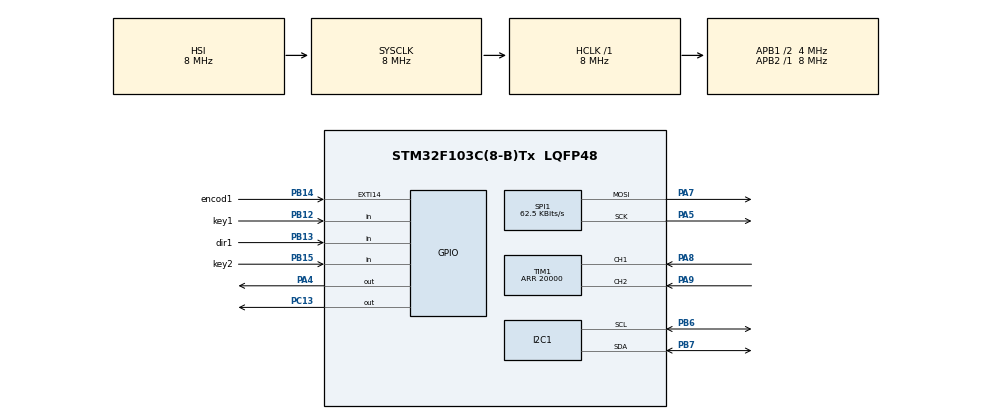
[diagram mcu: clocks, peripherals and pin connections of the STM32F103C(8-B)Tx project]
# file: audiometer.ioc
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Mcu.Family=STM32F1
Mcu.Name=STM32F103C(8-B)Tx
Mcu.Package=LQFP48
NVIC.EXTI15_10_IRQn=true\:0\:0\:false\:false\:true\:true\:true
NVIC.PriorityGroup=NVIC_PRIORITYGROUP_4
NVIC.TIM2_IRQn=true\:0\:0\:false\:false\:true\:true\:true
PA13.Mode=Serial_Wire
PA13.Signal=SYS_JTMS-SWDIO
PA14.Mode=Serial_Wire
PA14.Signal=SYS_JTCK-SWCLK
PA4.GPIO_PuPd=GPIO_PULLUP
PA4.Signal=GPIO_Output
PA5.Mode=TX_Only_Simplex_Unidirect_Master
PA5.Signal=SPI1_SCK
PA7.Mode=TX_Only_Simplex_Unidirect_Master
PA7.Signal=SPI1_MOSI
PA8.GPIO_PuPd=GPIO_PULLUP
PA8.Signal=S_TIM1_CH1
PA9.GPIO_PuPd=GPIO_PULLUP
PA9.Signal=S_TIM1_CH2
PB12.GPIO_Label=key1
PB12.GPIO_PuPd=GPIO_PULLUP
PB12.Signal=GPIO_Input
PB13.GPIO_Label=dir1
PB13.GPIO_PuPd=GPIO_PULLUP
PB13.Signal=GPIO_Input
PB14.GPIO_Label=encod1
PB14.GPIO_ModeDefaultEXTI=GPIO_MODE_IT_RISING_FALLING
PB14.GPIO_PuPd=GPIO_PULLUP
PB14.Signal=GPXTI14
PB15.GPIO_Label=key2
PB15.GPIO_PuPd=GPIO_PULLUP
PB15.Signal=GPIO_Input
PB6.Mode=I2C
PB6.Signal=I2C1_SCL
PB7.Mode=I2C
PB7.Signal=I2C1_SDA
PC13-TAMPER-RTC.GPIO_PuPd=GPIO_PULLUP
PC13-TAMPER-RTC.Signal=GPIO_Output
ProjectManager.HeapSize=0x200
ProjectManager.StackSize=0x400
ProjectManager.TargetToolchain=STM32CubeIDE
RCC.AHBFreq_Value=8000000
RCC.APB1CLKDivider=RCC_HCLK_DIV2
RCC.APB1Freq_Value=4000000
RCC.APB1TimFreq_Value=8000000
RCC.APB2Freq_Value=8000000
RCC.APB2TimFreq_Value=8000000
RCC.HCLKFreq_Value=8000000
RCC.PLLMUL=RCC_PLL_MUL3
RCC.SYSCLKFreq_VALUE=8000000
RCC.USBFreq_Value=12000000
SH.S_TIM1_CH1.0=TIM1_CH1,Encoder_Interface
SH.S_TIM1_CH2.0=TIM1_CH2,Encoder_Interface
SPI1.BaudRatePrescaler=SPI_BAUDRATEPRESCALER_128
SPI1.CLKPolarity=SPI_POLARITY_HIGH
SPI1.CalculateBaudRate=62.5 KBits/s
SPI1.DataSize=SPI_DATASIZE_16BIT
SPI1.Direction=SPI_DIRECTION_2LINES
SPI1.Mode=SPI_MODE_MASTER
SPI1.VirtualType=VM_MASTER
TIM1.AutoReloadPreload=TIM_AUTORELOAD_PRELOAD_DISABLE
TIM1.EncoderMode=TIM_ENCODERMODE_TI12
TIM1.IC1Filter=15
TIM1.Period=20000
TIM2.Period=65535
TIM2.Prescaler=0
VP_TIM2_VS_ClockSourceINT.Mode=Internal
board=custom

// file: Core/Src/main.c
/* USER CODE BEGIN Header */
/**
  ******************************************************************************
  * @file           : main.c
  * @brief          : Main program body
  ******************************************************************************
  * @attention
  *
  * <h2><center>&copy; Copyright (c) 2020 STMicroelectronics.
  * All rights reserved.</center></h2>
  *
  * This software component is licensed by ST under BSD 3-Clause license,
  * the "License"; You may not use this file except in compliance with the
  * License. You may obtain a copy of the License at:
  *                        opensource.org/licenses/BSD-3-Clause
  *
  ******************************************************************************
  */
/* USER CODE END Header */

#include "main.h"

/* USER CODE BEGIN Includes */

 I2C_HandleTypeDef hi2c1;
 SPI_HandleTypeDef hspi1;

#include "ssd1306_my.h"
#include "stm32f1xx_hal_i2c.h"
#include "ad9833.h"
/* USER CODE END Includes */

I2C_HandleTypeDef hi2c1;

SPI_HandleTypeDef hspi1;

TIM_HandleTypeDef htim1;
TIM_HandleTypeDef htim2;

/* USER CODE BEGIN PV */

int32_t pulse =100;
int32_t db=100;
char state2=0;
char state=0;

/* USER CODE END PV */

void SystemClock_Config(void);
static void MX_GPIO_Init(void);
static void MX_I2C1_Init(void);
static void MX_SPI1_Init(void);
static void MX_TIM1_Init(void);
static void MX_TIM2_Init(void);
/* USER CODE BEGIN PFP */

uint32_t counter = 0 ;

/* USER CODE END PFP */

int main(void)
{

  /* MCU Configuration--------------------------------------------------------*/

  /* Reset of all peripherals, Initializes the Flash interface and the Systick. */
  HAL_Init();

  /* Configure the system clock */
  SystemClock_Config();

  /* Initialize all configured peripherals */
  MX_GPIO_Init();
  MX_I2C1_Init();
  MX_SPI1_Init();
  MX_TIM1_Init();
  MX_TIM2_Init();
  /* USER CODE BEGIN 2 */
//asd
  /* USER CODE END 2 */

  /* Infinite loop */
  /* USER CODE BEGIN WHILE */

  ssd1306_Init();

  ssd1306_Fill(Black);
  ssd1306_WriteString("salam chetori", Font_7x10, White);
  ssd1306_UpdateScreen();

  HAL_TIM_Base_Start_IT(&htim2);

  HAL_TIM_Encoder_Start(&htim1, TIM_CHANNEL_ALL);

  while (1)
  {
    /* USER CODE END WHILE */

    /* USER CODE BEGIN 3 */

	  db = TIM1->CNT;
	  db*=100;
	  ssd1306_SetCursor(0, 14);
	  ssd1306_WriteString("freq = ", Font_7x10, White);
	  ssd1306_PutInt(pulse ,Font_7x10, White);
	  ssd1306_WriteString("        ", Font_7x10, White);
	  ssd1306_SetCursor(0, 23);
	  ssd1306_WriteString("db   = ", Font_7x10, White);
	  ssd1306_PutInt(db ,Font_7x10, White);
	  ssd1306_WriteString("        ", Font_7x10, White);
	  ssd1306_SetCursor(0,  30);
	  ssd1306_WriteString("c   = ", Font_7x10, White);
	  ssd1306_PutInt(state2,Font_7x10, White);
	  ssd1306_WriteString("        ", Font_7x10, White);

	  ssd1306_UpdateScreen();
	  ad9833_set_mode_and_freq(ad9833_sin, db );
	 // ad9833_disable();
	  //ssd1306_ClearScreen();

//	  if(db!=HAL_GPIO_ReadPin(encod1_GPIO_Port,encod1_Pin))
//	 {
//		  if(HAL_GPIO_ReadPin(dir1_GPIO_Port,dir1_Pin))
//		  {
//			  pulse++;
//		  }
//		  else
//		  {
//			  pulse--;
//		  }
//	 }
  }
  /* USER CODE END 3 */
}

void SystemClock_Config(void)
{
  RCC_OscInitTypeDef RCC_OscInitStruct = {0};
  RCC_ClkInitTypeDef RCC_ClkInitStruct = {0};

  /** Initializes the CPU, AHB and APB busses clocks
  */
  RCC_OscInitStruct.OscillatorType = RCC_OSCILLATORTYPE_HSI;
  RCC_OscInitStruct.HSIState = RCC_HSI_ON;
  RCC_OscInitStruct.HSICalibrationValue = RCC_HSICALIBRATION_DEFAULT;
  RCC_OscInitStruct.PLL.PLLState = RCC_PLL_NONE;
  if (HAL_RCC_OscConfig(&RCC_OscInitStruct) != HAL_OK)
  {
    Error_Handler();
  }
  /** Initializes the CPU, AHB and APB busses clocks
  */
  RCC_ClkInitStruct.ClockType = RCC_CLOCKTYPE_HCLK|RCC_CLOCKTYPE_SYSCLK
                              |RCC_CLOCKTYPE_PCLK1|RCC_CLOCKTYPE_PCLK2;
  RCC_ClkInitStruct.SYSCLKSource = RCC_SYSCLKSOURCE_HSI;
  RCC_ClkInitStruct.AHBCLKDivider = RCC_SYSCLK_DIV1;
  RCC_ClkInitStruct.APB1CLKDivider = RCC_HCLK_DIV2;
  RCC_ClkInitStruct.APB2CLKDivider = RCC_HCLK_DIV1;

  if (HAL_RCC_ClockConfig(&RCC_ClkInitStruct, FLASH_LATENCY_0) != HAL_OK)
  {
    Error_Handler();
  }
}

static void MX_I2C1_Init(void)
{

  hi2c1.Instance = I2C1;
  hi2c1.Init.ClockSpeed = 100000;
  hi2c1.Init.DutyCycle = I2C_DUTYCYCLE_2;
  hi2c1.Init.OwnAddress1 = 0;
  hi2c1.Init.AddressingMode = I2C_ADDRESSINGMODE_7BIT;
  hi2c1.Init.DualAddressMode = I2C_DUALADDRESS_DISABLE;
  hi2c1.Init.OwnAddress2 = 0;
  hi2c1.Init.GeneralCallMode = I2C_GENERALCALL_DISABLE;
  hi2c1.Init.NoStretchMode = I2C_NOSTRETCH_DISABLE;
  if (HAL_I2C_Init(&hi2c1) != HAL_OK)
  {
    Error_Handler();
  }

}

static void MX_SPI1_Init(void)
{

  /* SPI1 parameter configuration*/
  hspi1.Instance = SPI1;
  hspi1.Init.Mode = SPI_MODE_MASTER;
  hspi1.Init.Direction = SPI_DIRECTION_2LINES;
  hspi1.Init.DataSize = SPI_DATASIZE_16BIT;
  hspi1.Init.CLKPolarity = SPI_POLARITY_HIGH;
  hspi1.Init.CLKPhase = SPI_PHASE_1EDGE;
  hspi1.Init.NSS = SPI_NSS_SOFT;
  hspi1.Init.BaudRatePrescaler = SPI_BAUDRATEPRESCALER_128;
  hspi1.Init.FirstBit = SPI_FIRSTBIT_MSB;
  hspi1.Init.TIMode = SPI_TIMODE_DISABLE;
  hspi1.Init.CRCCalculation = SPI_CRCCALCULATION_DISABLE;
  hspi1.Init.CRCPolynomial = 10;
  if (HAL_SPI_Init(&hspi1) != HAL_OK)
  {
    Error_Handler();
  }

}

static void MX_TIM1_Init(void)
{

  TIM_Encoder_InitTypeDef sConfig = {0};
  TIM_MasterConfigTypeDef sMasterConfig = {0};

  htim1.Instance = TIM1;
  htim1.Init.Prescaler = 0;
  htim1.Init.CounterMode = TIM_COUNTERMODE_UP;
  htim1.Init.Period = 20000;
  htim1.Init.ClockDivision = TIM_CLOCKDIVISION_DIV1;
  htim1.Init.RepetitionCounter = 0;
  htim1.Init.AutoReloadPreload = TIM_AUTORELOAD_PRELOAD_DISABLE;
  sConfig.EncoderMode = TIM_ENCODERMODE_TI12;
  sConfig.IC1Polarity = TIM_ICPOLARITY_RISING;
  sConfig.IC1Selection = TIM_ICSELECTION_DIRECTTI;
  sConfig.IC1Prescaler = TIM_ICPSC_DIV1;
  sConfig.IC1Filter = 15;
  sConfig.IC2Polarity = TIM_ICPOLARITY_RISING;
  sConfig.IC2Selection = TIM_ICSELECTION_DIRECTTI;
  sConfig.IC2Prescaler = TIM_ICPSC_DIV1;
  sConfig.IC2Filter = 0;
  if (HAL_TIM_Encoder_Init(&htim1, &sConfig) != HAL_OK)
  {
    Error_Handler();
  }
  sMasterConfig.MasterOutputTrigger = TIM_TRGO_RESET;
  sMasterConfig.MasterSlaveMode = TIM_MASTERSLAVEMODE_DISABLE;
  if (HAL_TIMEx_MasterConfigSynchronization(&htim1, &sMasterConfig) != HAL_OK)
  {
    Error_Handler();
  }

}

static void MX_TIM2_Init(void)
{

  TIM_ClockConfigTypeDef sClockSourceConfig = {0};
  TIM_MasterConfigTypeDef sMasterConfig = {0};

  htim2.Instance = TIM2;
  htim2.Init.Prescaler = 0;
  htim2.Init.CounterMode = TIM_COUNTERMODE_UP;
  htim2.Init.Period = 65535;
  htim2.Init.ClockDivision = TIM_CLOCKDIVISION_DIV1;
  htim2.Init.AutoReloadPreload = TIM_AUTORELOAD_PRELOAD_DISABLE;
  if (HAL_TIM_Base_Init(&htim2) != HAL_OK)
  {
    Error_Handler();
  }
  sClockSourceConfig.ClockSource = TIM_CLOCKSOURCE_INTERNAL;
  if (HAL_TIM_ConfigClockSource(&htim2, &sClockSourceConfig) != HAL_OK)
  {
    Error_Handler();
  }
  sMasterConfig.MasterOutputTrigger = TIM_TRGO_RESET;
  sMasterConfig.MasterSlaveMode = TIM_MASTERSLAVEMODE_DISABLE;
  if (HAL_TIMEx_MasterConfigSynchronization(&htim2, &sMasterConfig) != HAL_OK)
  {
    Error_Handler();
  }

}

static void MX_GPIO_Init(void)
{
  GPIO_InitTypeDef GPIO_InitStruct = {0};

  /* GPIO Ports Clock Enable */
  __HAL_RCC_GPIOC_CLK_ENABLE();
  __HAL_RCC_GPIOA_CLK_ENABLE();
  __HAL_RCC_GPIOB_CLK_ENABLE();

  /*Configure GPIO pin Output Level */
  HAL_GPIO_WritePin(GPIOC, GPIO_PIN_13, GPIO_PIN_RESET);

  /*Configure GPIO pin Output Level */
  HAL_GPIO_WritePin(GPIOA, GPIO_PIN_4, GPIO_PIN_RESET);

  /*Configure GPIO pin : PC13 */
  GPIO_InitStruct.Pin = GPIO_PIN_13;
  GPIO_InitStruct.Mode = GPIO_MODE_OUTPUT_PP;
  GPIO_InitStruct.Pull = GPIO_PULLUP;
  GPIO_InitStruct.Speed = GPIO_SPEED_FREQ_LOW;
  HAL_GPIO_Init(GPIOC, &GPIO_InitStruct);

  /*Configure GPIO pin : PA4 */
  GPIO_InitStruct.Pin = GPIO_PIN_4;
  GPIO_InitStruct.Mode = GPIO_MODE_OUTPUT_PP;
  GPIO_InitStruct.Pull = GPIO_PULLUP;
  GPIO_InitStruct.Speed = GPIO_SPEED_FREQ_LOW;
  HAL_GPIO_Init(GPIOA, &GPIO_InitStruct);

  /*Configure GPIO pins : key1_Pin dir1_Pin key2_Pin */
  GPIO_InitStruct.Pin = key1_Pin|dir1_Pin|key2_Pin;
  GPIO_InitStruct.Mode = GPIO_MODE_INPUT;
  GPIO_InitStruct.Pull = GPIO_PULLUP;
  HAL_GPIO_Init(GPIOB, &GPIO_InitStruct);

  /*Configure GPIO pin : encod1_Pin */
  GPIO_InitStruct.Pin = encod1_Pin;
  GPIO_InitStruct.Mode = GPIO_MODE_IT_RISING_FALLING;
  GPIO_InitStruct.Pull = GPIO_PULLUP;
  HAL_GPIO_Init(encod1_GPIO_Port, &GPIO_InitStruct);

  /* EXTI interrupt init*/
  HAL_NVIC_SetPriority(EXTI15_10_IRQn, 0, 0);
  HAL_NVIC_EnableIRQ(EXTI15_10_IRQn);

}

/* USER CODE BEGIN 4 */

 void HAL_TIM_PeriodElapsedCallback(TIM_HandleTypeDef *htim)
 {

//	 HAL_GPIO_TogglePin(GPIOC, GPIO_PIN_13);
	 state2 ++ ;
	 if(state2>250)
		 state2=250;
 }

 void HAL_GPIO_EXTI_Callback(uint16_t GPIO_Pin)
{

	 char valid = 0;
	 __HAL_TIM_DISABLE(&htim2);

	 counter =	__HAL_TIM_GET_COUNTER(&htim2);

	 if(state2>=2&&state2<=50)
	 {
		 valid = 1;

	 }
	 else
		 valid =0 ;

	 if(valid)
	 {

		if(GPIO_Pin == encod1_Pin)
		{
			  if(state==0)
			  {
				  pulse+=1;
				  if(pulse>20000)
					  pulse=0;
			  }
			  else
			  {
				  pulse-=1;
				  if(pulse<0)
					  pulse=20000;

			  }
		}
	 }

	 if(HAL_GPIO_ReadPin(encod1_GPIO_Port,encod1_Pin)==1)
	 {
		 if(HAL_GPIO_ReadPin(dir1_GPIO_Port,dir1_Pin)==0)
		 {
			 state = 1 ;

		 }
		 else
		 {
			 state = 0 ;

		 }

	 }
	 else
	 {
		 if(HAL_GPIO_ReadPin(dir1_GPIO_Port,dir1_Pin)==1)
		 {
			 state = 1 ;

		 }
		 else
		 {
			 state = 0 ;

		 }

	 }
	 __HAL_TIM_SET_COUNTER(&htim2,0);
	 state2 = 0;

	 HAL_GPIO_TogglePin(GPIOC, GPIO_PIN_13);
	 __HAL_TIM_ENABLE(&htim2);

//	 __enable_irq();

  /* NOTE: This function Should not be modified, when the callback is needed,
           the HAL_GPIO_EXTI_Callback could be implemented in the user file
   */
}
/* USER CODE END 4 */

void Error_Handler(void)
{
}

/************************ (C) COPYRIGHT STMicroelectronics *****END OF FILE****/
